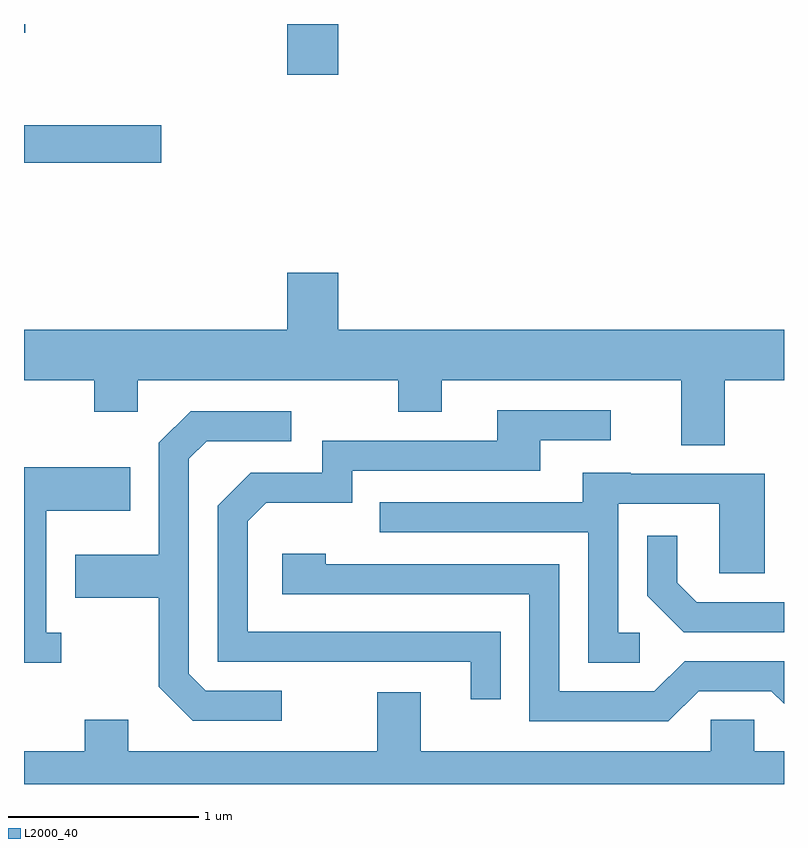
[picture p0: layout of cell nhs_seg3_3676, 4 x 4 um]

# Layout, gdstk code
import gdstk
lib = gdstk.Library(unit=1e-6, precision=1e-09)
def R(c, l, rs):  # rectangles x0, y0, x1, y1
    for r in rs: c.add(gdstk.rectangle(r[:2], r[2:], *l))
def P(c, l, *ps):  # polygons
    for p in ps: c.add(gdstk.Polygon(p, *l))
L2000_40 = (2000, 40)

nhs_seg3_3676 = lib.new_cell('nhs_seg3_3676')
R(nhs_seg3_3676, L2000_40, [(293.611,1127.161,294.334,1127.359), (294.996,1127.626,295.264,1127.892), (293.611,1127.846,293.618,1127.892)])
P(nhs_seg3_3676, L2000_40, [(297.299,1126.016),(297.611,1126.016),(297.611,1126.284),(295.264,1126.284),(295.264,1126.584),(294.996,1126.584),(294.996,1126.284),(293.611,1126.284),(293.611,1126.016),(293.981,1126.016),(293.981,1125.851),(294.209,1125.851),(294.209,1126.016),(295.581,1126.016),(295.581,1125.851),(295.809,1125.851),(295.809,1126.016),(297.071,1126.016),(297.071,1125.676),(297.299,1125.676)],
  [(296.119,1124.694),(294.789,1124.694),(294.789,1125.274),(294.887,1125.371),(295.339,1125.371),(295.339,1125.541),(296.329,1125.541),(296.329,1125.701),(296.698,1125.701),(296.698,1125.859),(296.101,1125.859),(296.101,1125.699),(295.181,1125.699),(295.181,1125.529),(294.804,1125.529),(294.631,1125.357),(294.631,1124.536),(295.961,1124.536),(295.961,1124.338),(296.119,1124.338)],
  [(294.968,1124.384),(294.567,1124.384),(294.479,1124.472),(294.479,1125.604),(294.572,1125.696),(295.018,1125.696),(295.018,1125.854),(294.489,1125.854),(294.321,1125.687),(294.321,1125.099),(293.881,1125.099),(293.881,1124.871),(294.321,1124.871),(294.321,1124.404),(294.499,1124.226),(294.968,1124.226)],
  [(293.808,1124.689),(293.729,1124.689),(293.729,1125.331),(294.169,1125.331),(294.169,1125.559),(293.611,1125.559),(293.611,1124.531),(293.808,1124.531)],
  [(296.853,1124.689),(296.739,1124.689),(296.739,1125.366),(297.271,1125.366),(297.271,1125.001),(297.509,1125.001),(297.509,1125.524),(296.805,1125.524),(296.805,1125.529),(296.551,1125.529),(296.551,1125.374),(295.483,1125.374),(295.483,1125.216),(296.581,1125.216),(296.581,1124.531),(296.853,1124.531)],
  [(297.611,1124.849),(297.152,1124.849),(297.049,1124.952),(297.049,1125.198),(296.891,1125.198),(296.891,1124.884),(297.084,1124.691),(297.611,1124.691)],
  [(297.162,1124.381),(297.544,1124.381),(297.611,1124.314),(297.611,1124.539),(297.089,1124.539),(296.929,1124.379),(296.429,1124.379),(296.429,1125.049),(295.199,1125.049),(295.199,1125.104),(294.971,1125.104),(294.971,1124.891),(296.271,1124.891),(296.271,1124.221),(297.002,1124.221)],
  [(297.611,1124.064),(297.454,1124.064),(297.454,1124.229),(297.226,1124.229),(297.226,1124.064),(295.699,1124.064),(295.699,1124.374),(295.471,1124.374),(295.471,1124.064),(294.159,1124.064),(294.159,1124.229),(293.931,1124.229),(293.931,1124.064),(293.611,1124.064),(293.611,1123.892),(297.611,1123.892)])

lib.write_gds('nhs_seg3_3676.gds')
